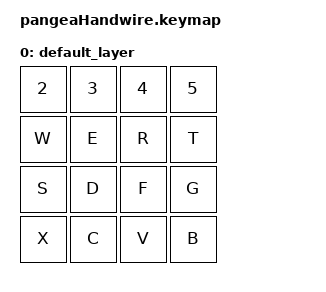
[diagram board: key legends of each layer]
#include <behaviors.dtsi>
#include <dt-bindings/zmk/keys.h>
//#include <dt-bindings/zmk/bt.h>
#include "zmk-helpers/helper.h"

// Source desired key-position labels
// #include "zmk-helpers/key-labels/glove80.h"

// Source unicode-chars for desired languages
// #include "zmk-helpers/unicode-chars/german.dtsi"

// ZMK_COMBO(name, bindings, keypos, layers, timeout, prior_idle, extra)
// // combos
// ZMK_COMBO(sleep,    &win_sleep,  RT3 RT4, NAV)  // put Windows to sleep, only active on NAV layer
// ZMK_COMBO(copy_cut, &copy_cut,   LB2 LB3, ALL)  // copy on tap, cut on double-tap, active on all layers
// ZMK_COMBO(paste,    &kp LS(INS), LB1 LB2, ALL)  // paste, active on all layers


//KEYMAP
ZMK_LAYER(default_layer,
//|   `   |   1   |   2   |   3   |   4   |   5   |                       |   6   |   7   |   8   |   9   |   0   |  BKS  |
//|  TAB  |   Q   |   W   |   E   |   R   |   T   |                       |   Y   |   U   |   I   |   O   |   P   |   ;   |
//| SHIFT |   A   |   S   |   D   |   F   |   G   |                       |   H   |   J   |   K   |   L   |   '   | SHIFT |
//|  CTRL |   Z   |   X   |   C   |   V   |   B   |                       |   N   |   M   |   ,   |   .   |   /   | CTRL  |
//              |  ESC  |  GUI  |  ALT  |  RET  |  TAB  |    |||    |  BKS  |  SPC  |  ALT  |  GUI  |  DEL  |

// SHIFT "layer" of base (ignoring capital letters)
//|   ~   |   !   |   @   |   #   |   $   |   %   |                       |   ^   |   &   |   *   |   (   |   )   |  BKS  |
//|  TAB  |       |       |       |       |       |                       |       |       |       |       |       |   :   |
//| SHIFT |       |       |       |       |       |                       |       |       |       |       |   "   | SHIFT |
//|  CTRL |       |       |       |       |       |                       |       |       |   <   |   >   |   ?   | CTRL  |
//              |  ESC  |  GUI  |  ALT  |  RET  |  TAB  |    |||    |  BKS  |  SPC  |  ALT  |  GUI  |  DEL  |

&kp N2   &kp N3   &kp N4   &kp N5 
&kp W    &kp E    &kp R    &kp T 
&kp S    &kp D    &kp F    &kp G 
&kp X    &kp C    &kp V    &kp B 
)

// &kp GRAVE   &kp N1   &kp N2   &kp N3   &kp N4   &kp N5                         &kp N6   &kp N7   &kp N8    &kp N9   &kp N0    &kp BSPC
// &kp TAB     &kp Q    &kp W    &kp E    &kp R    &kp T                          &kp Y    &kp U    &kp I     &kp O    &kp P     &kp SEMI
// &kp LSHIFT  &kp A    &kp S    &kp D    &kp F    &kp G                          &kp H    &kp J    &kp K     &kp L    &kp APOS  &kp RSHIFT
// &kp LCTRL   &kp Z    &kp X    &kp C    &kp V    &kp B                          &kp N    &kp M    &kp COMMA &kp DOT  &kp FSLH  &kp RCTRL

//     &kp ESC    &kp LGUI      &kp LALT     &kp RET    &kp TAB            &kp BSPC    &kp SPACE    &kp RALT    &kp RGUI     &kp DEL  

//PROBLEM KEYS:
// Right side: shift, num-row, y-row, thumb bksp, thumb space unclear: ctrl, alt
// left side: s, b 1-column, unlear: ctrl, esc

//PLANNING:
//Keys to main layer Combo: </>="';:{}[]()-_ copy cut paste  rarrow

//layer 2 = num & ?
//layer 3 = programming
//nav layer
//function layer?

//press and holds for alternate keys: work best on layers --- but press=sticky 1 key, hold=lock, double-tap=sticky word.......layer    LGUI                   RGUI    layer
// FOR NOW ONLY : TAB HOLD -> esc

// NUM & SYMBOL / PROGRAMMING layer
//| GRAVE |   @   |   <   |   >   |   '   |   ->  |                       |   $   |   #   |   &   |   |   |   ^   |  n/a  |
//|  TAB  |   ?   |   {   |   }   |   "   |   ,   |                       |   +   |   7   |   8   |   9   |   *   |   :   |
//| SHIFT |   !   |   (   |   )   |   ;   |   =   |                       |   -   |   4   |   5   |   6   |   /   | SHIFT |
//|  CTRL |   \   |   [   |   ]   |   :   |   _   |                       |   0   |   1   |   2   |   3   |   %   | CTRL  |
//                           |       |  ALT  |  RET  |       |||       |  SPC  |  . (alt on hold)  |  =  |



//Legend:
        // &kp - basic keypress behaviour
        // &lt # a - when tapped acts as kp a, when held enables layer # 
    //     BSPC    Backspace
    //     SPACE   Space
    //     RET     enter
    //     TAB     tab
    //     LSHIFT  left shift 
    //     RSHIFT  right shift
    //     ESC     escape

    //     DEL     delete
    //     INS     insert
    
    // Modifiers
    //     LCTRL   left Control
    //     RCTRL   right Control
    //     LALT    left Alt
    //     RALT    right Alt
    //     LGUI    left 'gui' (win/super/cmd)
    //     RGUI    right 'gui' (win/super/cmd)

    // punctuation (standard)
    //     COMMA   , and <
    //     DOT     . and >
    //     FSLH    / and ?
    //     SEMI    ; and :
    //     APOS    ' and "

    //     EQUAL   = and +
    //     MINUS   - and _
    //     BSLH    \ and |
    //     LBKT    [ and {
    //     RBKT    ] and }
    //     GRAVE   ` and ~

    // symbols oft beside alphas ! ? ( ) : 
    // ALMOST ALWAYS next to alphas (rarely non-alphas)    . ' " _ (,)ish
